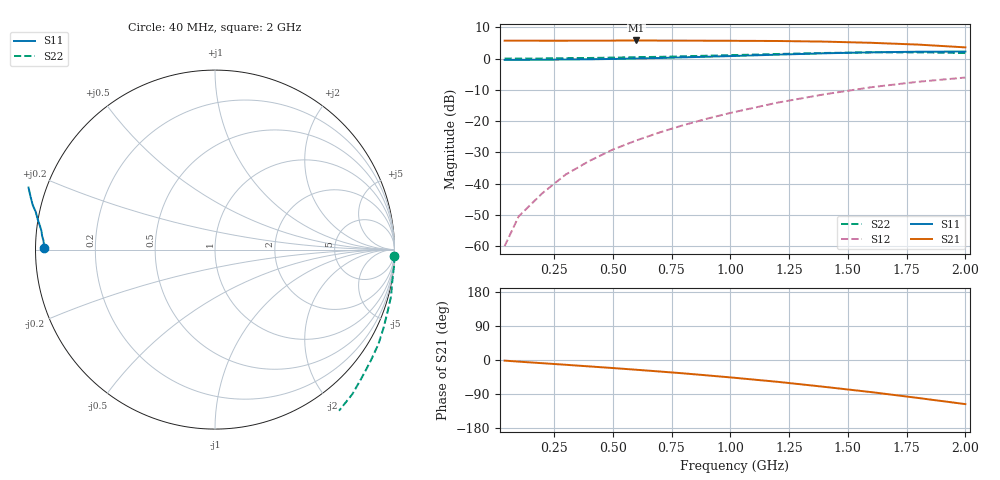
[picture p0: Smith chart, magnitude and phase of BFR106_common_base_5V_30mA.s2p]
! Filename:  BFR106CB.S2P  Version:  2.0
! Philips part #: BFR106  Date: Jul 1990
! Bias condition: Vce=5V, Ic=30mA
! COMMON BASE
#  MHz  S  MA  R  50
! Freq  S11  S21  S12  S22
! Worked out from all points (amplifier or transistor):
!   16 points, 40 MHz to 2 GHz, reference 50 ohm
!   highest |S21| = 5.8 dB at 600 MHz (marker M1)
!   |S21| within 3 dB of that: start of sweep to end of sweep
!   unconditionally stable (mu >= 1): nowhere
!   at 200 MHz: K = -0.56, MSG = 24.4 dB, |S12| = -43.1 dB
!   at 800 MHz: K = -0.93, MSG = 13.5 dB, |S12| = -21.3 dB
!   at 2 GHz: K = -0.82, MSG = 4.8 dB, |S12| = -6.1 dB
40  0.952 179.5  1.932 -1.6  0.001 66.7  1 -1.9
100  0.954 178.2  1.932 -4.3  0.003 106.3  1.002 -4.8
200  0.957 177.0  1.929 -8.4  0.007 120.3  1.003 -9.7
300  0.966 175.5  1.929 -12.6  0.014 131.3  1.015 -15.0
400  0.973 173.8  1.933 -16.9  0.023 138.9  1.022 -19.8
500  0.985 172.2  1.937 -21.2  0.035 139.3  1.036 -25.1
600  1.003 170.2  1.947 -25.7  0.049 140.3  1.052 -30.1
700  1.02 168.2  1.937 -30.4  0.066 140.2  1.066 -35.5
800  1.046 166.2  1.938 -35.2  0.086 139.3  1.085 -41.0
900  1.069 164.0  1.928 -40.5  0.109 137.7  1.111 -46.5
1000  1.095 161.6  1.923 -45.9  0.135 135.2  1.133 -52.4
1200  1.154 156.2  1.909 -57.5  0.197 129.1  1.183 -64.7
1400  1.213 149.4  1.866 -70.8  0.268 121.9  1.229 -77.7
1600  1.259 141.9  1.785 -84.8  0.348 113.8  1.255 -91.3
1800  1.286 133.5  1.671 -100.3  0.426 104.3  1.256 -105.8
2000  1.295 125.9  1.509 -116.4  0.497 95.1  1.225 -120.5
